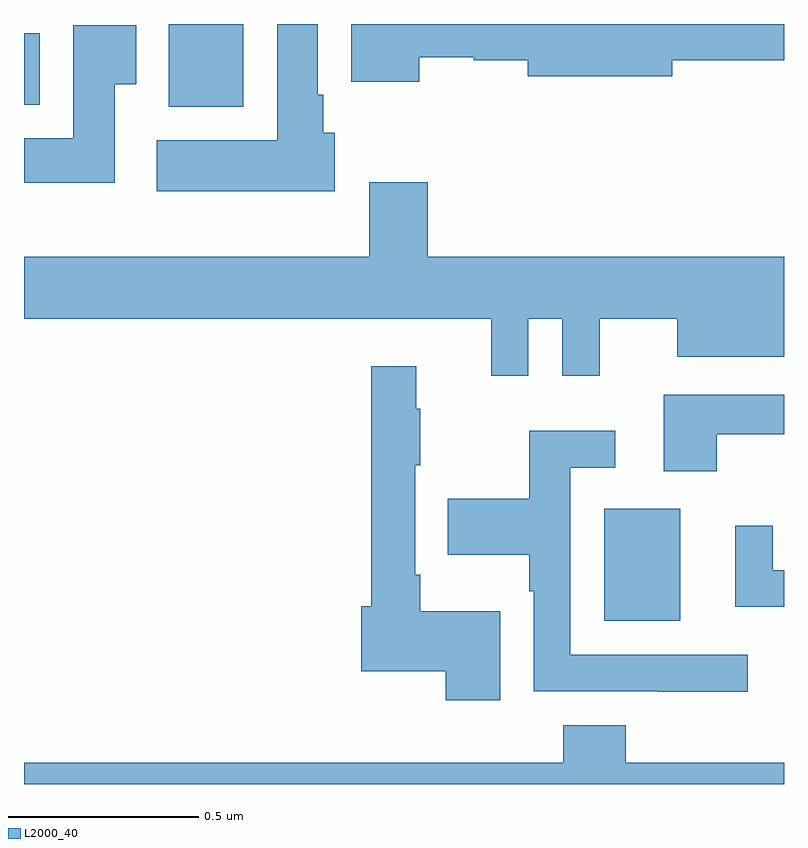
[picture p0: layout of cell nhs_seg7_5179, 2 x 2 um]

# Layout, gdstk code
import gdstk
lib = gdstk.Library(unit=1e-6, precision=1e-09)
def R(c, l, rs):  # rectangles x0, y0, x1, y1
    for r in rs: c.add(gdstk.rectangle(r[:2], r[2:], *l))
def P(c, l, *ps):  # polygons
    for p in ps: c.add(gdstk.Polygon(p, *l))
L2000_40 = (2000, 40)

nhs_seg7_5179 = lib.new_cell('nhs_seg7_5179')
R(nhs_seg7_5179, L2000_40, [(183.527,1058.429,183.727,1058.725), (182.381,1059.782,182.577,1060), (182,1059.788,182.041,1059.976)])
P(nhs_seg7_5179, L2000_40, [(182.818,1059.714),(182.788,1059.714),(182.788,1059.814),(182.773,1059.814),(182.773,1060),(182.666,1060),(182.666,1059.694),(182.349,1059.694),(182.349,1059.56),(182.818,1059.56)],
  [(183.04,1059.912),(183.183,1059.912),(183.183,1059.904),(183.326,1059.904),(183.326,1059.862),(183.706,1059.862),(183.706,1059.904),(184,1059.904),(184,1060),(182.861,1060),(182.861,1059.848),(183.04,1059.848)],
  [(182.239,1059.841),(182.296,1059.841),(182.296,1059.997),(182.129,1059.997),(182.129,1059.7),(182,1059.7),(182,1059.582),(182.239,1059.582)],
  [(183.062,1059.583),(182.909,1059.583),(182.909,1059.388),(182,1059.388),(182,1059.224),(183.23,1059.224),(183.23,1059.075),(183.327,1059.075),(183.327,1059.224),(183.417,1059.224),(183.417,1059.075),(183.515,1059.075),(183.515,1059.224),(183.719,1059.224),(183.719,1059.125),(184,1059.125),(184,1059.388),(183.062,1059.388)],
  [(183.253,1058.455),(183.043,1058.455),(183.043,1058.551),(183.03,1058.551),(183.03,1058.839),(183.043,1058.839),(183.043,1058.987),(183.032,1058.987),(183.032,1059.1),(182.914,1059.1),(182.914,1058.468),(182.888,1058.468),(182.888,1058.297),(183.11,1058.297),(183.11,1058.22),(183.253,1058.22)],
  [(183.823,1058.921),(184,1058.921),(184,1059.025),(183.683,1059.025),(183.683,1058.823),(183.823,1058.823)],
  [(183.904,1058.34),(183.438,1058.34),(183.438,1058.832),(183.556,1058.832),(183.556,1058.929),(183.33,1058.929),(183.33,1058.751),(183.115,1058.751),(183.115,1058.603),(183.33,1058.603),(183.33,1058.507),(183.342,1058.507),(183.342,1058.244),(183.667,1058.244),(183.667,1058.243),(183.904,1058.243)],
  [(184,1058.562),(183.97,1058.562),(183.97,1058.68),(183.872,1058.68),(183.872,1058.466),(184,1058.466)],
  [(183.419,1058.155),(183.419,1058.056),(182,1058.056),(182,1058),(184,1058),(184,1058.056),(183.584,1058.056),(183.584,1058.155)])

lib.write_gds('nhs_seg7_5179.gds')
